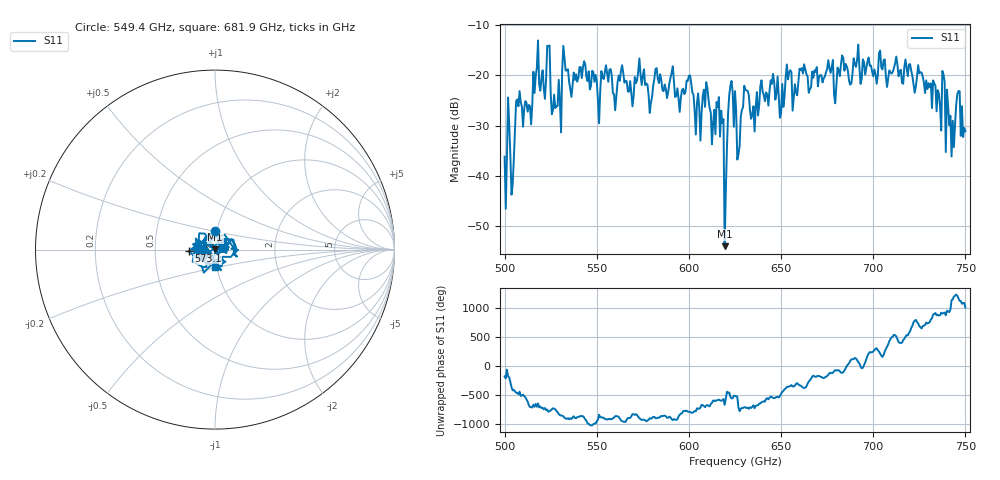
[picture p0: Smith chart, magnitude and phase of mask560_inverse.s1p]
!Created with skrf (http://scikit-rf.org).
# GHz S MA R 50.0
!freq magS11 angS11
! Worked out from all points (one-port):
!   401 points, 500 GHz to 750 GHz, reference 50 ohm
!   lowest |S11| = -54.0 dB at 619.4 GHz (marker M1), VSWR 1.00, Z = 50.1 + j0.157 ohm
!   |S11| at or under -10 dB: start of sweep to end of sweep
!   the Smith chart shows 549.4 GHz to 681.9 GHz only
!   S11 on the Smith chart (normalised r, x): 549.4 GHz: 0.98, +0.20; 573.1 GHz: 0.74, -0.02; 681.9 GHz: 0.98, -0.19
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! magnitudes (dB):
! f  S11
! 500 GHz  -36.2
! 504.4 GHz  -41.7
! 507.5 GHz  -26.2
! 513.8 GHz  -26.1
! 516.9 GHz  -20.1
! 523.8 GHz  -14.2
! 526.9 GHz  -23.8
! 531.2 GHz  -18.8
! 549.4 GHz  -19.9
! 562.5 GHz  -21.1
! 573.1 GHz  -16.6
! 593.8 GHz  -22.6
! 600 GHz  -20.1
! 605 GHz  -23.6
! 608.8 GHz  -26.3
! 616.2 GHz  -24.3
! 619.4 GHz  -54.0
! 620.6 GHz  -34.5
! 622.5 GHz  -22.1
! 625 GHz  -23.1
! 627.5 GHz  -34.1
! 631.2 GHz  -23.0
! 634.4 GHz  -27.8
! 656.2 GHz  -27.0
! 681.9 GHz  -20.1
! 687.5 GHz  -21.8
! 718.8 GHz  -20.1
! 750 GHz  -31.1
